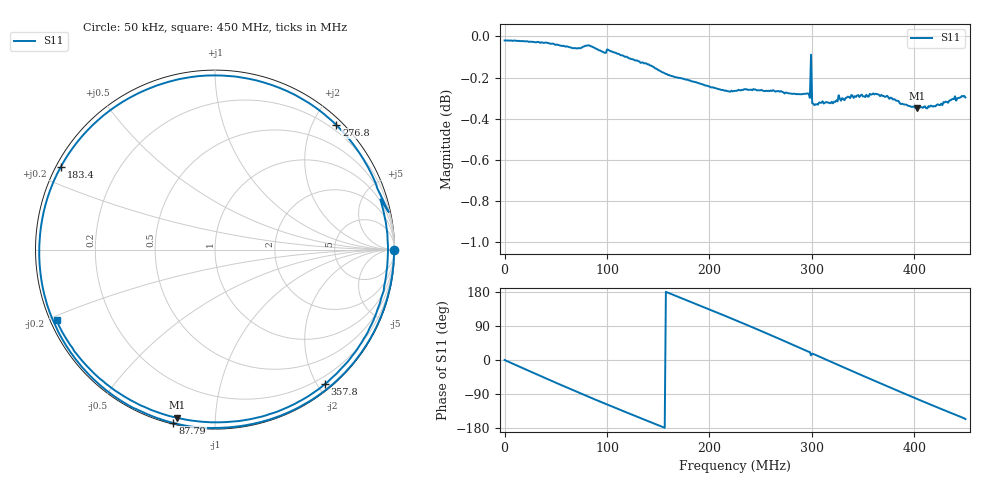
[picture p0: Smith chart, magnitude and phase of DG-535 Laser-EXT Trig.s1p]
! NanoVNA-App
! Date: 2026-10-06 11:52:35
! Start: 50kHz Stop: 450MHz Points: 401
! S-Parameter data: F S11
# Hz S RI R 50
!  Frequency  S11_Real  S11_Imag
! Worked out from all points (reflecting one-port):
!   401 points, 50 kHz to 450 MHz, reference 50 ohm
!   lowest |S11| = -0.3 dB at 402.8 MHz (marker M1), VSWR 49.70, Z = 1.65 - j39.9 ohm
!   phase of S11 starts at -0 deg and turns -516 deg over the sweep
!   S11 on the Smith chart (normalised r, x): 50 kHz: open; 87.79 MHz: 0.01, -0.79; 183.4 MHz: 0.01, +0.25; 276.8 MHz: 0.11, +2.37; 357.8 MHz: 0.09, -2.10; 450 MHz: 0.02, -0.21
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50000  0.9977 -0.000778
1.242362e7  0.9635 -0.2579
2.592212e7  0.8524 -0.517
4.167038e7  0.6399 -0.7638
5.629375e7  0.3848 -0.9172
7.2042e7  0.0767 -0.9905
8.779025e7  -0.2337 -0.9658
1.125375e8  -0.6507 -0.7459
1.406594e8  -0.9359 -0.3055
1.541579e8  -0.9783 -0.0589
1.687812e8  -0.9546 0.209
1.834046e8  -0.859 0.4615
2.059021e8  -0.5848 0.7757
2.25025e8  -0.2609 0.9342
2.373986e8  -0.0266 0.9702
2.508971e8  0.2326 0.9422
2.767692e8  0.676 0.6938
2.812688e8  0.7373 0.6278
2.97017e8  0.9003 0.3568
3.093906e8  0.9573 0.1097
3.24014e8  0.9474 -0.1824
3.375125e8  0.8616 -0.437
3.577602e8  0.6121 -0.7498
3.757582e8  0.3043 -0.9164
3.937562e8  -0.0413 -0.9611
4.027552e8  -0.212 -0.9369
4.241279e8  -0.5754 -0.7714
4.5e8  -0.882 -0.3948
